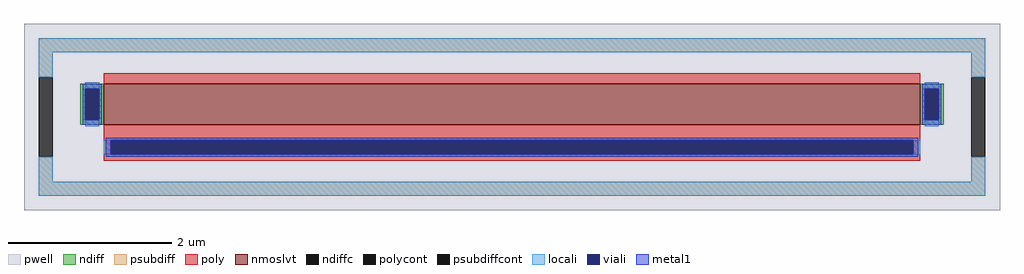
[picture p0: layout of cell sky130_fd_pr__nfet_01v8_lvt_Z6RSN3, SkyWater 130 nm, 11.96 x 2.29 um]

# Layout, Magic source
magic
tech sky130A
magscale 1 2
<< pwell >>
rect -1196 -229 1196 229
<< nmoslvt >>
rect -1000 -19 1000 81
<< ndiff >>
rect -1058 69 -1000 81
rect -1058 -7 -1046 69
rect -1012 -7 -1000 69
rect -1058 -19 -1000 -7
rect 1000 69 1058 81
rect 1000 -7 1012 69
rect 1046 -7 1058 69
rect 1000 -19 1058 -7
<< ndiffc >>
rect -1046 -7 -1012 69
rect 1012 -7 1046 69
<< psubdiff >>
rect -1160 159 1160 193
rect -1160 97 -1126 159
rect 1126 97 1160 159
rect -1160 -159 -1126 -97
rect 1126 -159 1160 -97
rect -1160 -193 1160 -159
<< psubdiffcont >>
rect -1160 -97 -1126 97
rect 1126 -97 1160 97
<< poly >>
rect -1000 81 1000 107
rect -1000 -57 1000 -19
rect -1000 -91 -984 -57
rect 984 -91 1000 -57
rect -1000 -107 1000 -91
<< polycont >>
rect -984 -91 984 -57
<< locali >>
rect -1160 159 1160 193
rect -1160 97 -1126 159
rect 1126 97 1160 159
rect -1046 69 -1012 85
rect -1046 -23 -1012 -7
rect 1012 69 1046 85
rect 1012 -23 1046 -7
rect -1000 -91 -984 -57
rect 984 -91 1000 -57
rect -1160 -159 -1126 -97
rect 1126 -159 1160 -97
rect -1160 -193 1160 -159
<< viali >>
rect -1046 -7 -1012 69
rect 1012 -7 1046 69
rect -984 -91 984 -57
<< metal1 >>
rect -1052 69 -1006 81
rect -1052 -7 -1046 69
rect -1012 -7 -1006 69
rect -1052 -19 -1006 -7
rect 1006 69 1052 81
rect 1006 -7 1012 69
rect 1046 -7 1052 69
rect 1006 -19 1052 -7
rect -996 -57 996 -51
rect -996 -91 -984 -57
rect 984 -91 996 -57
rect -996 -97 996 -91
<< properties >>
string FIXED_BBOX -1143 -176 1143 176
string gencell sky130_fd_pr__nfet_01v8_lvt
string library sky130
string parameters w 0.5 l 10 m 1 nf 1 diffcov 100 polycov 100 guard 1 glc 1 grc 1 gtc 0 gbc 0 tbcov 100 rlcov 100 topc 0 botc 1 poverlap 0 doverlap 1 lmin 0.15 wmin 0.42 compatible {sky130_fd_pr__nfet_01v8 sky130_fd_pr__nfet_01v8_lvt  sky130_fd_bs_flash__special_sonosfet_star  sky130_fd_pr__nfet_g5v0d10v5 sky130_fd_pr__nfet_05v0_nvt  sky130_fd_pr__nfet_03v3_nvt} full_metal 1 viasrc 100 viadrn 100 viagate 100 viagb 0 viagr 0 viagl 0 viagt 0
<< end >>
